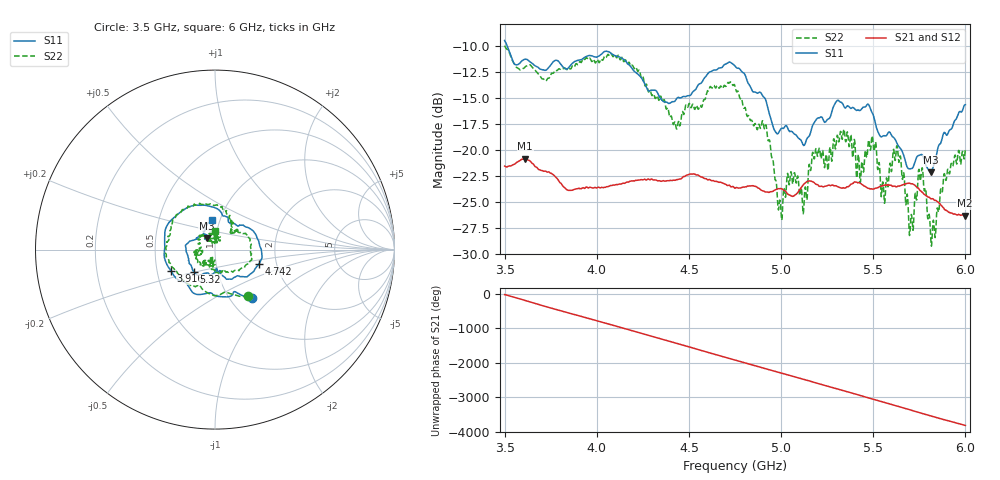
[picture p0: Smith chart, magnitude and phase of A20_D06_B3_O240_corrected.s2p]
! Created with skrf 1.9.0 (http://scikit-rf.org).
# Hz S RI R 50.0
!freq ReS11 ImS11 ReS21 ImS21 ReS12 ImS12 ReS22 ImS22
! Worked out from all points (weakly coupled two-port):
!   1601 points, 3.5 GHz to 6 GHz, reference 50 ohm
!   highest |S21| = -20.81 dB at 3.611 GHz (marker M1); lowest = -26.3 dB at 5.995 GHz (marker M2)
!   lowest |S11| = -22.1 dB at 5.811 GHz (marker M3), VSWR 1.17, Z = 45.1 + j5.66 ohm
!   |S11| at or under -10 dB: 3.515 GHz to end of sweep
!   |S22| runs from -29.2 to -9.9 dB; largest |S21 - S12| = 0.001
!   S11 on the Smith chart (normalised r, x): 3.5 GHz: 1.26, -0.76; 3.916 GHz: 0.59, -0.15; 4.742 GHz: 1.62, -0.27; 5.32 GHz: 0.77, -0.20; 6 GHz: 0.92, +0.31
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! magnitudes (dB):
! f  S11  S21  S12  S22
! 3.5 GHz  -9.4  -21.5  -21.5  -9.9
! 3.611 GHz  -11.3  -20.8  -20.8  -12.0
! 3.916 GHz  -11.3  -23.7  -23.7  -11.6
! 3.917 GHz  -11.3  -23.7  -23.7  -11.5
! 4.334 GHz  -14.7  -23.0  -22.9  -15.1
! 4.441 GHz  -14.9  -22.8  -22.8  -17.4
! 4.742 GHz  -11.8  -23.5  -23.5  -13.7
! 4.75 GHz  -11.9  -23.7  -23.6  -13.9
! 4.911 GHz  -15.0  -24.0  -23.9  -17.9
! 4.995 GHz  -18.0  -23.7  -23.6  -24.9
! 5.045 GHz  -18.2  -24.3  -24.3  -23.3
! 5.13 GHz  -19.4  -23.2  -23.2  -23.6
! 5.167 GHz  -17.8  -23.0  -23.0  -20.8
! 5.32 GHz  -15.4  -23.6  -23.6  -18.4
! 5.553 GHz  -18.6  -23.4  -23.4  -23.1
! 5.584 GHz  -18.3  -23.4  -23.3  -22.7
! 5.638 GHz  -19.6  -23.5  -23.4  -21.0
! 5.706 GHz  -21.8  -23.2  -23.2  -26.2
! 5.758 GHz  -20.4  -23.9  -23.9  -22.7
! 5.811 GHz  -22.1  -24.7  -24.6  -28.0
! 5.995 GHz  -15.7  -26.3  -26.2  -20.7
! 6 GHz  -15.6  -26.3  -26.2  -19.9
